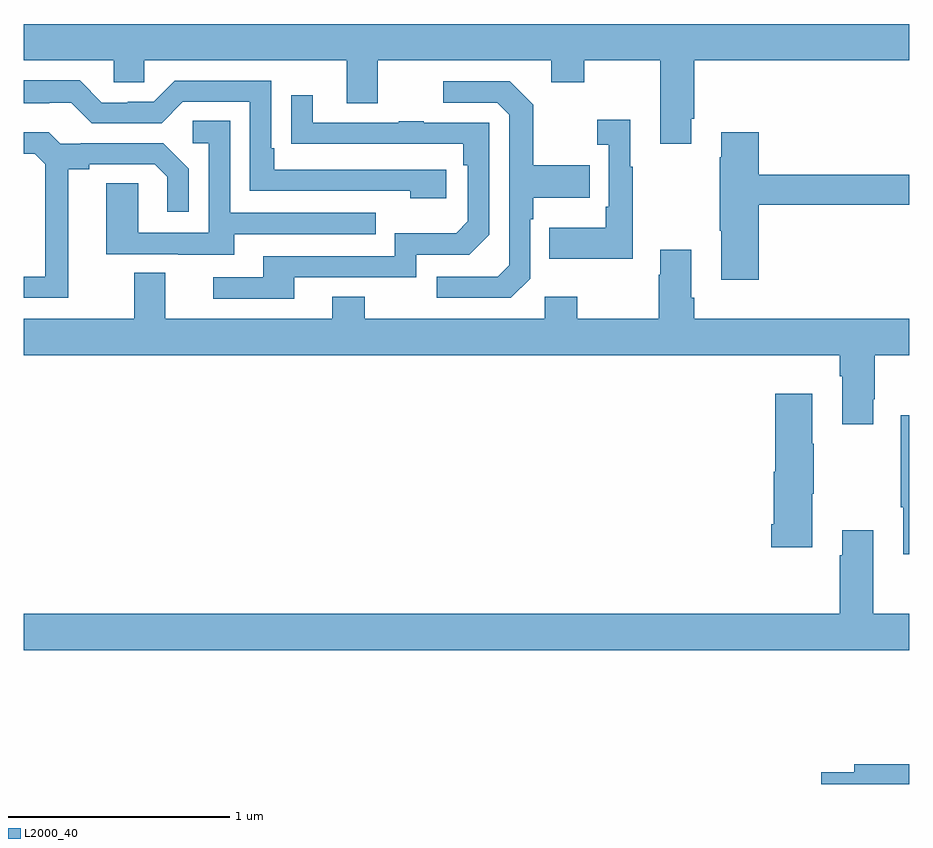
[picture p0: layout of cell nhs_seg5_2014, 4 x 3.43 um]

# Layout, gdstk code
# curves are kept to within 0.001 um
import gdstk
lib = gdstk.Library(unit=1e-6, precision=1e-09)
def P(c, l, *ps):  # polygons
    for p in ps: c.add(gdstk.Polygon(p, *l))
L2000_40 = (2000, 40)

nhs_seg5_2014 = lib.new_cell('nhs_seg5_2014')
P(nhs_seg5_2014, L2000_40, [(232.015,881.803),(232.028,881.803),(232.028,882.068),(233,882.068),(233,882.232),(229,882.232),(229,882.068),(229.407,882.068),(229.407,881.97),(229.545,881.97),(229.545,882.068),(230.459,882.068),(230.459,881.874),(230.599,881.874),(230.599,882.068),(231.383,882.068),(231.383,881.969),(231.531,881.969),(231.531,882.068),(231.875,882.068),(231.875,881.691),(232.015,881.691)],
  [(230.908,881.574),(230.131,881.574),(230.131,881.671),(230.118,881.671),(230.118,881.976),(229.683,881.976),(229.587,881.88),(229.469,881.88),(229.469,881.877),(229.353,881.877),(229.253,881.977),(229,881.977),(229,881.873),(229.115,881.873),(229.115,881.877),(229.215,881.877),(229.308,881.784),(229.623,881.784),(229.719,881.88),(230.022,881.88),(230.022,881.478),(230.747,881.478),(230.747,881.444),(230.908,881.444)],
  [(231.288,881.082),(231.288,881.351),(231.301,881.351),(231.301,881.447),(231.557,881.447),(231.557,881.595),(231.301,881.595),(231.301,881.867),(231.195,881.973),(230.895,881.973),(230.895,881.877),(231.138,881.877),(231.192,881.823),(231.192,881.142),(231.141,881.091),(230.865,881.091),(230.865,880.995),(231.201,880.995)],
  [(230.221,881.088),(230.772,881.088),(230.772,881.19),(231.012,881.19),(231.102,881.28),(231.102,881.787),(230.807,881.787),(230.807,881.792),(230.695,881.792),(230.695,881.787),(230.305,881.787),(230.305,881.911),(230.209,881.911),(230.209,881.692),(230.986,881.691),(230.986,881.594),(231.006,881.594),(231.006,881.34),(230.953,881.287),(230.676,881.287),(230.676,881.184),(230.081,881.184),(230.081,881.088),(229.857,881.088),(229.857,880.992),(230.221,880.992)],
  [(231.751,881.587),(231.739,881.587),(231.739,881.8),(231.591,881.8),(231.591,881.687),(231.642,881.687),(231.642,881.407),(231.63,881.407),(231.63,881.311),(231.373,881.311),(231.373,881.171),(231.751,881.171)],
  [(229.951,881.283),(230.591,881.283),(230.591,881.379),(229.932,881.379),(229.932,881.795),(229.764,881.795),(229.764,881.694),(229.836,881.694),(229.836,881.289),(229.518,881.289),(229.518,881.513),(229.373,881.513),(229.373,881.193),(229.697,881.193),(229.697,881.189),(229.951,881.189)],
  [(232.319,881.416),(233,881.416),(233,881.552),(232.319,881.552),(232.319,881.743),(232.151,881.743),(232.151,881.63),(232.144,881.63),(232.144,881.299),(232.151,881.299),(232.151,881.076),(232.319,881.076)],
  [(229.201,881.576),(229.297,881.576),(229.297,881.598),(229.592,881.598),(229.649,881.541),(229.649,881.385),(229.746,881.385),(229.746,881.578),(229.63,881.694),(229.258,881.694),(229.258,881.691),(229.164,881.691),(229.112,881.743),(229,881.743),(229,881.646),(229.05,881.646),(229.097,881.599),(229.097,881.091),(229,881.091),(229,880.995),(229.201,880.995)],
  [(232.837,880.537),(232.845,880.537),(232.845,880.736),(233,880.736),(233,880.9),(232.028,880.9),(232.028,880.996),(232.015,880.996),(232.015,881.212),(231.875,881.212),(231.875,881.099),(231.868,881.099),(231.868,880.9),(231.501,880.9),(231.501,880.999),(231.354,880.999),(231.354,880.9),(230.541,880.9),(230.541,880.999),(230.393,880.999),(230.393,880.9),(229.639,880.9),(229.639,881.108),(229.499,881.108),(229.499,880.9),(229,880.9),(229,880.736),(232.685,880.736),(232.685,880.64),(232.697,880.64),(232.697,880.425),(232.837,880.425)],
  [(232.561,880.109),(232.569,880.109),(232.569,880.337),(232.561,880.337),(232.561,880.561),(232.394,880.561),(232.394,880.209),(232.388,880.209),(232.388,879.973),(232.376,879.973),(232.376,879.869),(232.561,879.869)],
  [(233,880.465),(232.962,880.465),(232.962,880.049),(232.973,880.049),(232.973,879.837),(233,879.837)],
  [(233,879.568),(232.837,879.568),(232.837,879.946),(232.697,879.946),(232.697,879.833),(232.685,879.833),(232.685,879.568),(229,879.568),(229,879.404),(233,879.404)],
  [(233,878.888),(232.751,878.888),(232.751,878.852),(232.602,878.852),(232.602,878.799),(233,878.799)])

lib.write_gds('nhs_seg5_2014.gds')
